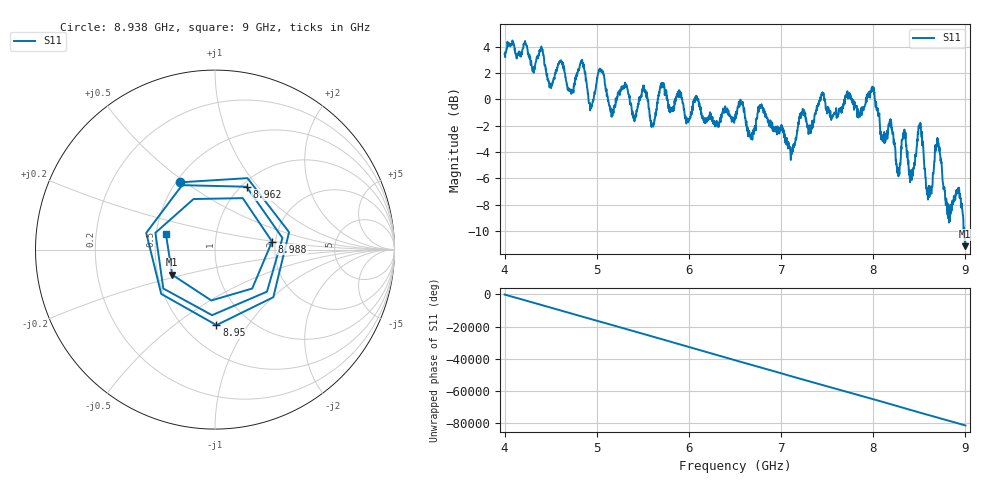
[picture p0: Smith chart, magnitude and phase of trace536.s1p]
! Created with skrf 1.8.0 (http://scikit-rf.org).
# Hz S RI R 50.0
!freq ReS11 ImS11
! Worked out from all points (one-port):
!   1601 points, 4 GHz to 9 GHz, reference 50 ohm
!   lowest |S11| = -11.2 dB at 8.997 GHz (marker M1), VSWR 1.76, Z = 29.7 - j9.01 ohm
!   |S11| at or under -10 dB: 8.980181 GHz to 8.982573 GHz (2.392 MHz wide, 0.0266 % of centre); 8.988669 GHz to end of sweep
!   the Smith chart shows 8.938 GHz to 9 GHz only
!   S11 on the Smith chart (normalised r, x): 8.938 GHz: 0.52, +0.48; 8.95 GHz: 0.71, -0.73; 8.962 GHz: 1.05, +0.87; 8.988 GHz: 1.92, +0.19; 9 GHz: 0.56, +0.10
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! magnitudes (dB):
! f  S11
! 4 GHz  3.4
! 4.625 GHz  2.8
! 4.722 GHz  0.4
! 4.841 GHz  3.0
! 4.938 GHz  -0.6
! 5.038 GHz  2.2
! 5.156 GHz  -0.7
! 5.25 GHz  0.3
! 5.606 GHz  -1.9
! 5.709 GHz  1.3
! 5.875 GHz  0.4
! 6.5 GHz  -1.5
! 7.125 GHz  -3.6
! 7.228 GHz  -1.1
! 7.75 GHz  0.4
! 7.994 GHz  0.9
! 8.269 GHz  -5.5
! 8.375 GHz  -4.6
! 8.509 GHz  -2.2
! 8.597 GHz  -6.9
! 8.694 GHz  -3.3
! 8.806 GHz  -8.8
! 8.938 GHz  -7.5
! 8.95 GHz  -7.5
! 8.962 GHz  -8.1
! 8.988 GHz  -9.9
! 8.997 GHz  -11.2
! 9 GHz  -10.9
